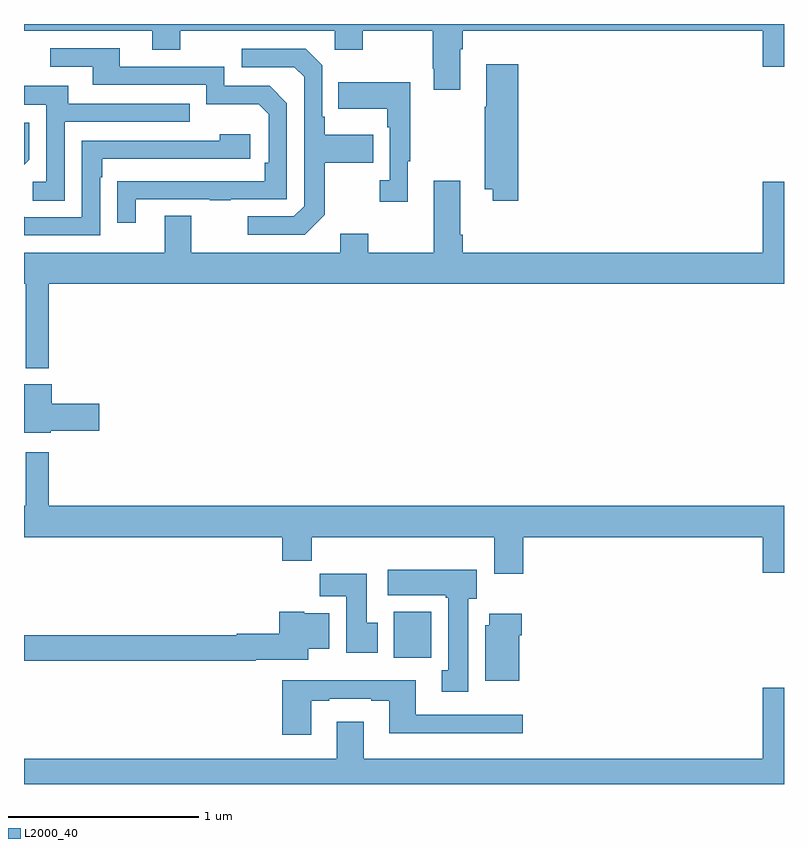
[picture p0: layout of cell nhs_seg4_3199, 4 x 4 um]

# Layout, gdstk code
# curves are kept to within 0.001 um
import gdstk
lib = gdstk.Library(unit=1e-6, precision=1e-09)
def R(c, l, rs):  # rectangles x0, y0, x1, y1
    for r in rs: c.add(gdstk.rectangle(r[:2], r[2:], *l))
def P(c, l, *ps):  # polygons
    for p in ps: c.add(gdstk.Polygon(p, *l))
L2000_40 = (2000, 40)

nhs_seg4_3199 = lib.new_cell('nhs_seg4_3199')
R(nhs_seg4_3199, L2000_40, [(282.947,749.564,283.144,749.806)])
P(nhs_seg4_3199, L2000_40, [(283.297,752.768),(283.31,752.768),(283.31,752.864),(284.888,752.864),(284.888,752.676),(285,752.676),(285,752.9),(281,752.9),(281,752.864),(281.675,752.864),(281.675,752.765),(281.823,752.765),(281.823,752.864),(282.636,752.864),(282.636,752.765),(282.783,752.765),(282.783,752.864),(283.15,752.864),(283.15,752.665),(283.157,752.665),(283.157,752.553),(283.297,752.553)],
  [(281.587,751.977),(281.977,751.977),(281.977,751.972),(282.089,751.972),(282.089,751.977),(282.384,751.977),(282.384,752.484),(282.294,752.574),(282.054,752.574),(282.054,752.676),(281.503,752.676),(281.503,752.772),(281.139,752.772),(281.139,752.676),(281.363,752.676),(281.363,752.58),(281.958,752.58),(281.958,752.477),(282.235,752.477),(282.288,752.424),(282.288,752.17),(282.268,752.17),(282.268,752.073),(281.491,752.072),(281.491,751.854),(281.587,751.854)],
  [(282.583,751.897),(282.583,752.17),(282.839,752.17),(282.839,752.317),(282.583,752.317),(282.583,752.413),(282.57,752.413),(282.57,752.682),(282.483,752.769),(282.147,752.769),(282.147,752.673),(282.423,752.673),(282.474,752.622),(282.474,751.941),(282.42,751.887),(282.177,751.887),(282.177,751.791),(282.477,751.791)],
  [(283.601,752.689),(283.433,752.689),(283.433,752.465),(283.426,752.465),(283.426,752.03),(283.466,752.03),(283.466,751.971),(283.601,751.971)],
  [(283.021,752.177),(283.033,752.177),(283.033,752.593),(282.655,752.593),(282.655,752.453),(282.912,752.453),(282.912,752.357),(282.924,752.357),(282.924,752.078),(282.873,752.078),(282.873,751.965),(283.021,751.965)],
  [(281.214,752.385),(281.873,752.385),(281.873,752.481),(281.233,752.481),(281.233,752.575),(281,752.575),(281,752.475),(281.118,752.475),(281.118,752.07),(281.046,752.07),(281.046,751.969),(281.214,751.969)],
  [(281.028,752.186),(281.028,752.38),(281,752.38),(281,752.158)],
  [(281.4,752.093),(281.413,752.093),(281.413,752.19),(282.19,752.19),(282.19,752.32),(282.029,752.32),(282.029,752.286),(281.304,752.286),(281.304,751.884),(281,751.885),(281,751.788),(281.4,751.788)],
  [(281.131,751.532),(285,751.532),(285,752.071),(284.888,752.071),(284.888,751.696),(283.31,751.696),(283.31,751.792),(283.297,751.792),(283.297,752.074),(283.157,752.074),(283.157,751.696),(282.813,751.696),(282.813,751.795),(282.665,751.795),(282.665,751.696),(281.881,751.696),(281.881,751.891),(281.741,751.891),(281.741,751.696),(281,751.696),(281,751.532),(281.009,751.532),(281.009,751.088),(281.131,751.088)],
  [(281.142,750.76),(281.395,750.76),(281.395,750.902),(281.146,750.902),(281.146,751.003),(281,751.003),(281,750.749),(281.142,750.749)],
  [(283.628,750.2),(284.888,750.2),(284.888,750.012),(285,750.012),(285,750.364),(281.131,750.364),(281.131,750.646),(281.009,750.646),(281.009,750.364),(281,750.364),(281,750.2),(282.359,750.2),(282.359,750.076),(282.515,750.076),(282.515,750.2),(283.475,750.2),(283.475,750.006),(283.628,750.006)],
  [(283.339,749.874),(283.384,749.874),(283.384,750.028),(282.915,750.028),(282.915,749.894),(283.219,749.894),(283.219,749.881),(283.232,749.881),(283.232,749.498),(283.199,749.498),(283.199,749.385),(283.339,749.385)],
  [(282.862,749.748),(282.805,749.748),(282.805,750.007),(282.556,750.007),(282.556,749.888),(282.695,749.888),(282.695,749.592),(282.862,749.592)],
  [(282.22,749.555),(282.496,749.555),(282.496,749.612),(282.607,749.612),(282.607,749.8),(282.474,749.8),(282.474,749.806),(282.344,749.806),(282.344,749.692),(282.12,749.692),(282.12,749.684),(281,749.684),(281,749.548),(282.22,749.548)],
  [(283.606,749.684),(283.619,749.684),(283.619,749.797),(283.448,749.797),(283.448,749.736),(283.427,749.736),(283.427,749.444),(283.606,749.444)],
  [(282.511,749.337),(282.607,749.337),(282.607,749.349),(282.827,749.349),(282.827,749.337),(282.923,749.337),(282.923,749.168),(283.624,749.168),(283.624,749.265),(283.063,749.265),(283.063,749.446),(282.359,749.446),(282.359,749.16),(282.511,749.16)],
  [(285,749.407),(284.888,749.407),(284.888,749.032),(282.787,749.032),(282.787,749.227),(282.647,749.227),(282.647,749.032),(281,749.032),(281,748.9),(285,748.9)])

lib.write_gds('nhs_seg4_3199.gds')
